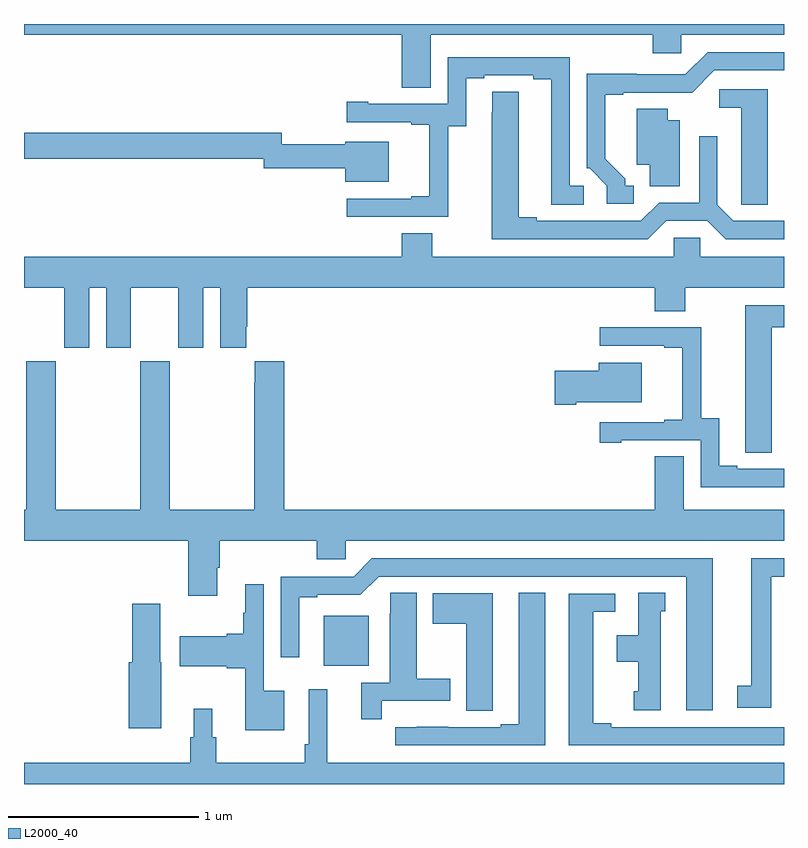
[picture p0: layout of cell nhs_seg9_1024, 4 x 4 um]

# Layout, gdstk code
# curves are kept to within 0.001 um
import gdstk
lib = gdstk.Library(unit=1e-6, precision=1e-09)
def R(c, l, rs):  # rectangles x0, y0, x1, y1
    for r in rs: c.add(gdstk.rectangle(r[:2], r[2:], *l))
def P(c, l, *ps):  # polygons
    for p in ps: c.add(gdstk.Polygon(p, *l))
L2000_40 = (2000, 40)

nhs_seg9_1024 = lib.new_cell('nhs_seg9_1024')
R(nhs_seg9_1024, L2000_40, [(168.578,1169.123,168.814,1169.386)])
P(nhs_seg9_1024, L2000_40, [(171,1172.5),(167,1172.5),(167,1172.444),(168.989,1172.444),(168.989,1172.164),(169.141,1172.164),(169.141,1172.444),(170.309,1172.444),(170.309,1172.346),(170.46,1172.346),(170.46,1172.444),(171,1172.444)],
  [(170.209,1171.65),(170.164,1171.65),(170.164,1171.685),(170.059,1171.79),(170.059,1172.127),(170.155,1172.127),(170.155,1172.139),(170.516,1172.138),(170.634,1172.256),(171,1172.256),(171,1172.352),(170.598,1172.352),(170.481,1172.235),(170.225,1172.235),(170.225,1172.237),(169.962,1172.237),(169.962,1171.74),(169.977,1171.74),(170.067,1171.65),(170.067,1171.554),(170.209,1171.554)],
  [(169.233,1171.963),(169.327,1171.963),(169.327,1172.214),(169.423,1172.214),(169.423,1172.229),(169.679,1172.229),(169.679,1172.209),(169.775,1172.209),(169.775,1171.549),(169.945,1171.549),(169.945,1171.65),(169.872,1171.65),(169.872,1172.325),(169.23,1172.325),(169.23,1172.079),(168.811,1172.079),(168.811,1172.092),(168.699,1172.092),(168.699,1171.983),(169.037,1171.983),(169.037,1171.971),(169.133,1171.971),(169.133,1171.594),(169.037,1171.594),(169.037,1171.581),(168.699,1171.581),(168.699,1171.485),(169.233,1171.485)],
  [(170.914,1172.157),(170.658,1172.157),(170.658,1172.06),(170.774,1172.06),(170.774,1171.657),(170.775,1171.657),(170.775,1171.549),(170.914,1171.549)],
  [(170.379,1171.464),(170.597,1171.464),(170.693,1171.368),(171,1171.368),(171,1171.464),(170.733,1171.464),(170.649,1171.548),(170.649,1171.909),(170.553,1171.909),(170.553,1171.56),(170.343,1171.56),(170.247,1171.464),(169.699,1171.464),(169.699,1171.484),(169.603,1171.484),(169.603,1172.144),(169.464,1172.144),(169.463,1171.368),(170.283,1171.368)],
  [(170.452,1171.993),(170.389,1171.993),(170.389,1172.054),(170.225,1172.054),(170.225,1171.76),(170.294,1171.76),(170.294,1171.645),(170.452,1171.645)],
  [(168.919,1171.879),(168.692,1171.879),(168.692,1171.868),(168.357,1171.868),(168.357,1171.928),(167,1171.928),(167,1171.792),(168.261,1171.792),(168.261,1171.74),(168.692,1171.74),(168.692,1171.67),(168.919,1171.67)],
  [(167,1171.112),(167.213,1171.112),(167.213,1170.795),(167.344,1170.795),(167.344,1171.112),(167.432,1171.112),(167.432,1170.795),(167.563,1170.795),(167.563,1171.112),(167.813,1171.112),(167.813,1170.795),(167.944,1170.795),(167.944,1171.112),(168.032,1171.112),(168.032,1170.795),(168.169,1170.795),(168.169,1170.907),(168.176,1170.907),(168.176,1171.112),(170.321,1171.112),(170.321,1170.988),(170.481,1170.988),(170.481,1171.112),(171,1171.112),(171,1171.276),(170.559,1171.276),(170.559,1171.374),(170.421,1171.374),(170.421,1171.276),(169.149,1171.276),(169.149,1171.4),(168.989,1171.4),(168.989,1171.276),(167,1171.276)],
  [(170.935,1170.904),(171,1170.904),(171,1171.02),(170.795,1171.02),(170.795,1170.352),(170.796,1170.352),(170.796,1170.244),(170.935,1170.244)],
  [(171,1170.159),(170.755,1170.159),(170.755,1170.174),(170.659,1170.174),(170.659,1170.425),(170.565,1170.425),(170.565,1170.903),(170.031,1170.903),(170.031,1170.807),(170.369,1170.807),(170.369,1170.795),(170.465,1170.795),(170.465,1170.418),(170.369,1170.418),(170.369,1170.405),(170.031,1170.405),(170.031,1170.297),(170.143,1170.297),(170.143,1170.309),(170.562,1170.309),(170.562,1170.063),(171,1170.063)],
  [(168.016,1169.638),(168.029,1169.638),(168.029,1169.78),(168.542,1169.78),(168.542,1169.682),(168.693,1169.682),(168.693,1169.78),(171,1169.78),(171,1169.944),(170.473,1169.944),(170.473,1170.224),(170.321,1170.224),(170.321,1169.944),(168.371,1169.944),(168.371,1170.724),(168.215,1170.724),(168.215,1170.611),(168.211,1170.611),(168.211,1169.944),(167.766,1169.944),(167.766,1170.724),(167.611,1170.724),(167.611,1169.944),(167.166,1169.944),(167.166,1170.724),(167.011,1170.724),(167.011,1169.944),(167,1169.944),(167,1169.78),(167.864,1169.78),(167.864,1169.49),(168.016,1169.49)],
  [(169.906,1170.509),(170.251,1170.509),(170.251,1170.718),(170.024,1170.718),(170.024,1170.675),(169.794,1170.675),(169.794,1170.497),(169.906,1170.497)],
  [(170.626,1169.688),(168.831,1169.688),(168.735,1169.592),(168.351,1169.592),(168.351,1169.166),(168.448,1169.166),(168.448,1169.484),(168.544,1169.484),(168.544,1169.496),(168.771,1169.496),(168.867,1169.592),(170.486,1169.592),(170.486,1168.887),(170.626,1168.887)],
  [(170.932,1169.592),(171,1169.592),(171,1169.688),(170.828,1169.688),(170.828,1169.018),(170.754,1169.018),(170.754,1168.902),(170.932,1168.902)],
  [(168.37,1168.99),(168.261,1168.99),(168.261,1169.551),(168.164,1169.551),(168.164,1169.402),(168.153,1169.402),(168.153,1169.291),(168.068,1169.291),(168.068,1169.278),(167.82,1169.278),(167.82,1169.12),(168.068,1169.12),(168.068,1169.108),(168.164,1169.108),(168.164,1168.784),(168.37,1168.784)],
  [(169.744,1169.507),(169.604,1169.507),(169.604,1168.815),(169.508,1168.815),(169.508,1168.8),(169.232,1168.8),(169.232,1168.801),(169.066,1168.801),(169.066,1168.8),(168.954,1168.8),(168.954,1168.704),(169.744,1168.704)],
  [(170.35,1169.409),(170.374,1169.409),(170.374,1169.507),(170.234,1169.507),(170.234,1169.284),(170.12,1169.284),(170.12,1169.144),(170.234,1169.144),(170.234,1168.989),(170.21,1168.989),(170.21,1168.887),(170.35,1168.887)],
  [(168.884,1168.938),(169.243,1168.938),(169.243,1169.055),(169.066,1169.055),(169.066,1169.507),(168.927,1169.507),(168.927,1169.396),(168.926,1169.396),(168.926,1169.034),(168.776,1169.034),(168.776,1168.842),(168.884,1168.842)],
  [(169.467,1168.993),(169.468,1168.993),(169.468,1169.503),(169.151,1169.503),(169.151,1169.344),(169.328,1169.344),(169.328,1168.885),(169.467,1168.885)],
  [(171,1168.8),(170.092,1168.8),(170.092,1168.82),(169.996,1168.82),(169.996,1169.406),(170.113,1169.406),(170.113,1169.502),(169.868,1169.502),(169.868,1168.704),(171,1168.704)],
  [(167.722,1169.142),(167.716,1169.142),(167.716,1169.449),(167.57,1169.449),(167.57,1169.142),(167.552,1169.142),(167.552,1168.794),(167.722,1168.794)],
  [(171,1168.612),(168.596,1168.612),(168.596,1168.999),(168.498,1168.999),(168.498,1168.708),(168.478,1168.708),(168.478,1168.612),(168.011,1168.612),(168.011,1168.746),(167.992,1168.746),(167.992,1168.897),(167.894,1168.897),(167.894,1168.746),(167.875,1168.746),(167.875,1168.612),(167,1168.612),(167,1168.5),(171,1168.5)])

lib.write_gds('nhs_seg9_1024.gds')
